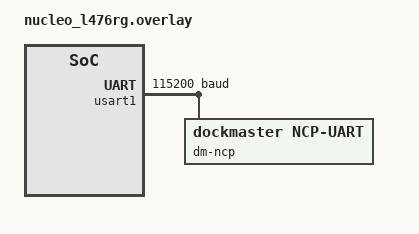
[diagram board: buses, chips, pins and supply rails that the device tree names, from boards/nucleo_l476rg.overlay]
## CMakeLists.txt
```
# Copyright (c) 2026 Nurzaman
# SPDX-License-Identifier: Apache-2.0

cmake_minimum_required(VERSION 3.20.0)
find_package(Zephyr REQUIRED HINTS $ENV{ZEPHYR_BASE})
project(ncp_uart_link)

target_sources(app PRIVATE src/main.c)
```

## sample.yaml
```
sample:
  name: Dockmaster co-processor link on UART
  description: >
    A metered co-processor link on USART1 next to a local (fake) radio, on
    a 4-bit NVIC part. Not run on hardware yet.
common:
  tags: dockmaster
  build_only: true
  platform_allow:
    - nucleo_l476rg
  integration_platforms:
    - nucleo_l476rg
tests:
  sample.dockmaster.ncp_uart_link: {}
```

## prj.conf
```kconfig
CONFIG_DOCKMASTER=y
CONFIG_SERIAL=y
CONFIG_UART_INTERRUPT_DRIVEN=y

# The local radio is a fake link (no radio on the Nucleo board).
CONFIG_DM_LINK_FAKE=y
CONFIG_DM_LINK_FAKE_COUNT=1

CONFIG_LOG=y
CONFIG_DM_LOG_LEVEL_INF=y
CONFIG_MAIN_STACK_SIZE=1536
CONFIG_MAIN_THREAD_PRIORITY=8
CONFIG_ASSERT=y
```

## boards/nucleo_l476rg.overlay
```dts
/*
 * Copyright (c) 2026 Nurzaman
 * SPDX-License-Identifier: Apache-2.0
 *
 * Co-processor on USART1, 115200 8N1, 3.3 V:
 *   STM32 TX  PA9   Arduino D8   -> NCP RX
 *   STM32 RX  PA10  Arduino D2   <- NCP TX
 *   GND                          -- NCP GND
 * The console stays on USART2 (ST-LINK virtual COM port).
 */

&usart1 {
	status = "okay";
	current-speed = <115200>;

	dm-ncp {
		compatible = "dockmaster,ncp-uart";
		mtu = <120>;
		latency-us = <250000>;
		probe-period-ms = <30000>;
	};
};
```

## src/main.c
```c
/*
 * Copyright (c) 2026 Nurzaman
 * SPDX-License-Identifier: Apache-2.0
 *
 * A co-processor link on USART1 (metered, registered by its driver at
 * boot) next to a local radio, played here by a fake link because the
 * Nucleo board has none. Producers submit C0 control, C1 state and C4 bulk;
 * every few seconds the sample prints the counters. Expected with the
 * default policy: C4 never uses the metered link, C0 goes out on both.
 *
 * Without a co-processor on the pins the NCP link times out (watchdog
 * faults), degrades and goes down, and everything moves to the local
 * radio. Not run on hardware yet.
 */

#include <string.h>

#include <zephyr/kernel.h>
#include <zephyr/sys/byteorder.h>

#include <dockmaster/dm.h>
#include <dockmaster/dm_link_fake.h>

#define TICK_MS   50U
#define REPORT_MS 5000U

static struct dm_stats s;

static void report(void)
{
	static const char *const states[] = {"DOWN", "DEGRADED", "UP"};

	dm_stats_get(&s);
	for (int c = DM_C0; c < DM_CLASS_COUNT; c++) {
		const struct dm_class_stats *k = &s.cls[c];

		printk("C%d submitted %u sent %u failed %u dropped %u coalesced %u\n", c,
		       k->submitted, k->sent, k->failed,
		       k->dropped_quota + k->dropped_age + k->dropped_shed, k->coalesced);
	}
	for (uint8_t l = 0; l < dm_link_count(); l++) {
		const struct dm_link_stats *k = &s.link[l];

		printk("link %u %-8s tx_ok %u tx_fail %u faults %u probes %u/%u rtt %u us\n", l,
		       states[k->state], k->tx_ok, k->tx_fail, k->faults, k->probes_ok,
		       k->probes_fail, k->ewma_rtt_us);
	}
	printk("pressure %u, slab %u%%, c0_lost %u\n\n", s.pressure_state, s.slab_pct,
	       s.c0_lost);
}

int main(void)
{
	const struct dm_fake_cfg radio = {
		.caps = {.mtu = 127, .tier = DM_TIER_MAC, .mac_prio_levels = 2},
		.bitrate_bps = 250000,
		.overhead_us = 800,
		.airtime_latency = true,
		.seed = 1,
	};
	uint8_t buf[64];
	uint8_t link;
	uint32_t seq = 0U;

	dm_fake_configure(0, &radio);
	if (dm_fake_register(0, &link) != 0) {
		printk("local radio registration failed\n");
		return 0;
	}
	printk("ncp_uart_link: %u link(s), local radio is link %u\n", dm_link_count(), link);

	for (uint32_t t = 0U;; t += TICK_MS) {
		memset(buf, 0x5A, sizeof(buf));
		sys_put_le32(seq++, buf);
		(void)dm_submit(DM_C4, buf, sizeof(buf), DM_F_RESUMABLE, NULL);
		if (t % 1000U == 0U) {
			(void)dm_submit(DM_C0, buf, 8, 0U, NULL);
		}
		if (t % 200U == 0U) {
			struct dm_submit_opts o = {.coalesce_key = 1, .link_hint = DM_LINK_ANY};

			(void)dm_submit(DM_C1, buf, 16, DM_F_COALESCE, &o);
		}
		if (t % REPORT_MS == 0U && t != 0U) {
			report();
		}
		k_msleep(TICK_MS);
	}
	return 0;
}
```
